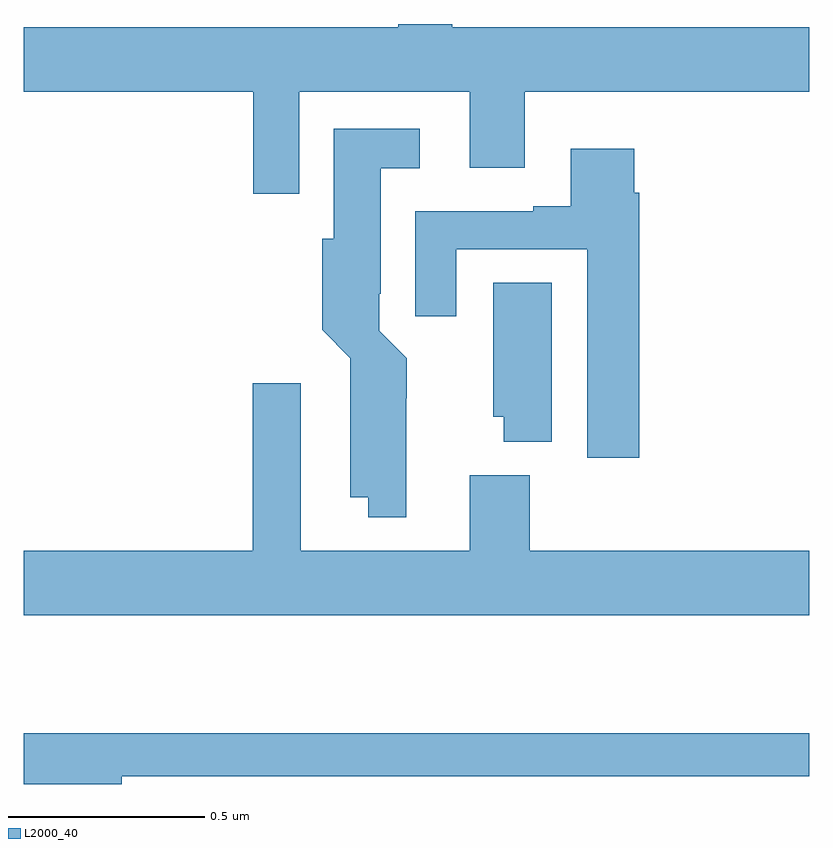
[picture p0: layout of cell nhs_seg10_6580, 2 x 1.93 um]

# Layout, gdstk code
import gdstk
lib = gdstk.Library(unit=1e-6, precision=1e-09)
def P(c, l, *ps):  # polygons
    for p in ps: c.add(gdstk.Polygon(p, *l))
L2000_40 = (2000, 40)

nhs_seg10_6580 = lib.new_cell('nhs_seg10_6580')
P(nhs_seg10_6580, L2000_40, [(193.701,1288.328),(194.135,1288.328),(194.135,1288.134),(194.275,1288.134),(194.275,1288.328),(195,1288.328),(195,1288.492),(194.091,1288.492),(194.091,1288.5),(193.953,1288.5),(193.953,1288.492),(193,1288.492),(193,1288.328),(193.585,1288.328),(193.585,1288.068),(193.701,1288.068)],
  [(193.974,1287.548),(193.975,1287.548),(193.975,1287.65),(193.905,1287.72),(193.905,1287.814),(193.909,1287.814),(193.909,1288.133),(194.008,1288.133),(194.008,1288.234),(193.79,1288.234),(193.79,1287.954),(193.76,1287.954),(193.76,1287.722),(193.832,1287.65),(193.832,1287.296),(193.877,1287.296),(193.877,1287.245),(193.974,1287.245)],
  [(194.567,1288.07),(194.554,1288.07),(194.554,1288.183),(194.393,1288.183),(194.393,1288.036),(194.297,1288.036),(194.297,1288.023),(193.997,1288.023),(193.997,1287.756),(194.101,1287.756),(194.101,1287.927),(194.435,1287.927),(194.435,1287.396),(194.567,1287.396)],
  [(194.344,1287.842),(194.195,1287.842),(194.195,1287.501),(194.222,1287.501),(194.222,1287.437),(194.344,1287.437)],
  [(195,1287.16),(194.288,1287.16),(194.288,1287.352),(194.135,1287.352),(194.135,1287.16),(193.705,1287.16),(193.705,1287.586),(193.583,1287.586),(193.583,1287.16),(193,1287.16),(193,1286.996),(195,1286.996)],
  [(193.25,1286.586),(195,1286.586),(195,1286.695),(193,1286.695),(193,1286.566),(193.25,1286.566)])

lib.write_gds('nhs_seg10_6580.gds')
